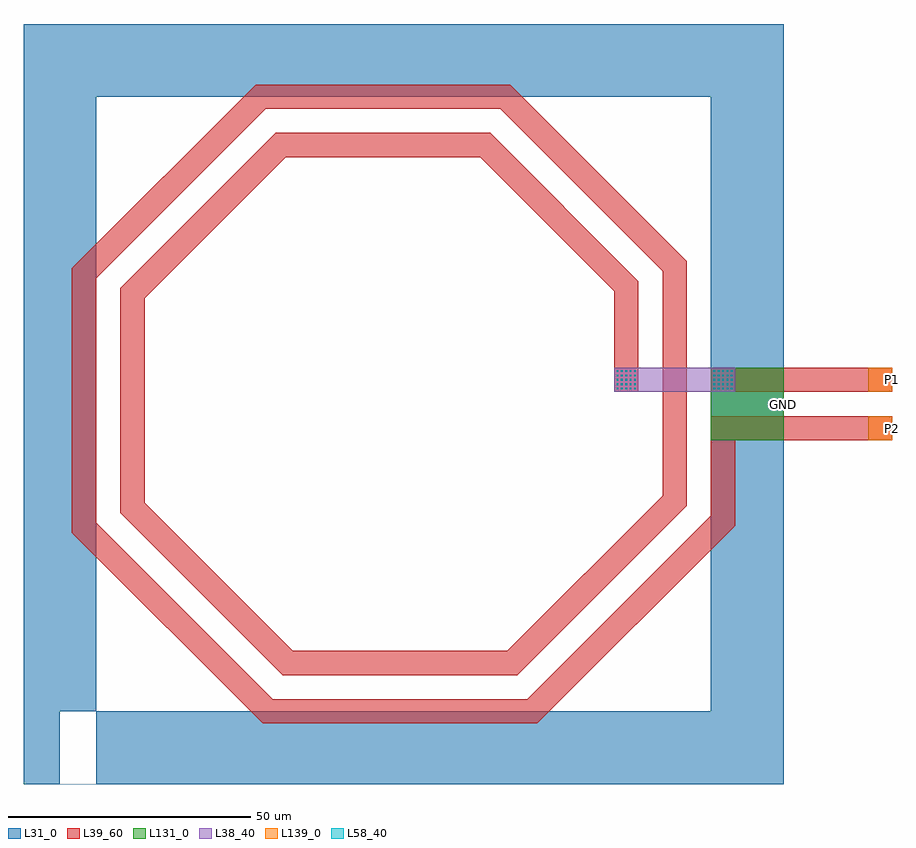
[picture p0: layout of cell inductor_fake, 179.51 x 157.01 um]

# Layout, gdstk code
import gdstk
lib = gdstk.Library(unit=1e-6, precision=1e-09)
def R(c, l, rs):  # rectangles x0, y0, x1, y1
    for r in rs: c.add(gdstk.rectangle(r[:2], r[2:], *l))
def A(c, l, x, y, w, h, nx, ny, dx, dy):  # array of equal rectangles
    R(c, l, [(x+i*dx, y+j*dy, x+i*dx+w, y+j*dy+h) for i in range(nx) for j in range(ny)])
def P(c, l, *ps):  # polygons
    for p in ps: c.add(gdstk.Polygon(p, *l))
L31_0 = (31, 0)
L38_40 = (38, 40)
L39_60 = (39, 60)
L58_40 = (58, 40)
L131_0 = (131, 0)
L139_0 = (139, 0)

inductor_fake = lib.new_cell('inductor_fake')
P(inductor_fake, L31_0, [(-71.005,-63.505),(-71.005,-78.505),(78.505,-78.505),(78.505,78.505),(-78.505,78.505),(-78.505,-78.505),(-63.505,-78.505),(-63.505,63.505),(63.505,63.505),(63.505,-63.505)])
R(inductor_fake, L38_40, [(43.505,2.5,68.505,7.5)])
R(inductor_fake, L39_60, [(63.505,-7.5,101.005,-2.5), (63.505,2.5,101.005,7.5)])
P(inductor_fake, L39_60, [(43.505,2.5),(48.505,2.5),(48.505,25.396),(17.896,56.005),(-26.431,56.005),(-58.505,23.931),(-58.505,-22.466),(-24.966,-56.005),(23.501,-56.005),(58.505,-21.001),(58.505,29.536),(22.036,66.005),(-30.571,66.005),(-68.505,28.071),(-68.505,-26.606),(-29.106,-66.005),(27.641,-66.005),(68.505,-25.141),(68.505,-5),(63.505,-5),(63.505,-23.069),(25.569,-61.005),(-27.034,-61.005),(-63.505,-24.534),(-63.505,25.999),(-28.499,61.005),(19.964,61.005),(53.505,27.464),(53.505,-18.929),(21.429,-51.005),(-22.894,-51.005),(-53.505,-20.394),(-53.505,21.859),(-24.359,51.005),(15.824,51.005),(43.505,23.324)])
A(inductor_fake, L58_40, 44.024, 3.02, 0.36, 0.36, 5, 5, 0.9, 0.9)
A(inductor_fake, L58_40, 64.024, 3.02, 0.36, 0.36, 5, 5, 0.9, 0.9)
R(inductor_fake, L131_0, [(63.505,-7.5,78.505,7.5)])
R(inductor_fake, L139_0, [(96.005,-7.5,101.005,-2.5), (96.005,2.5,101.005,7.5)])
inductor_fake.add(gdstk.Label('P1', (101.004,5), layer=139, texttype=0))
inductor_fake.add(gdstk.Label('P2', (101.004,-5), layer=139, texttype=0))
inductor_fake.add(gdstk.Label('GND', (78.504,0), layer=131, texttype=0))

lib.write_gds('inductor_fake.gds')
